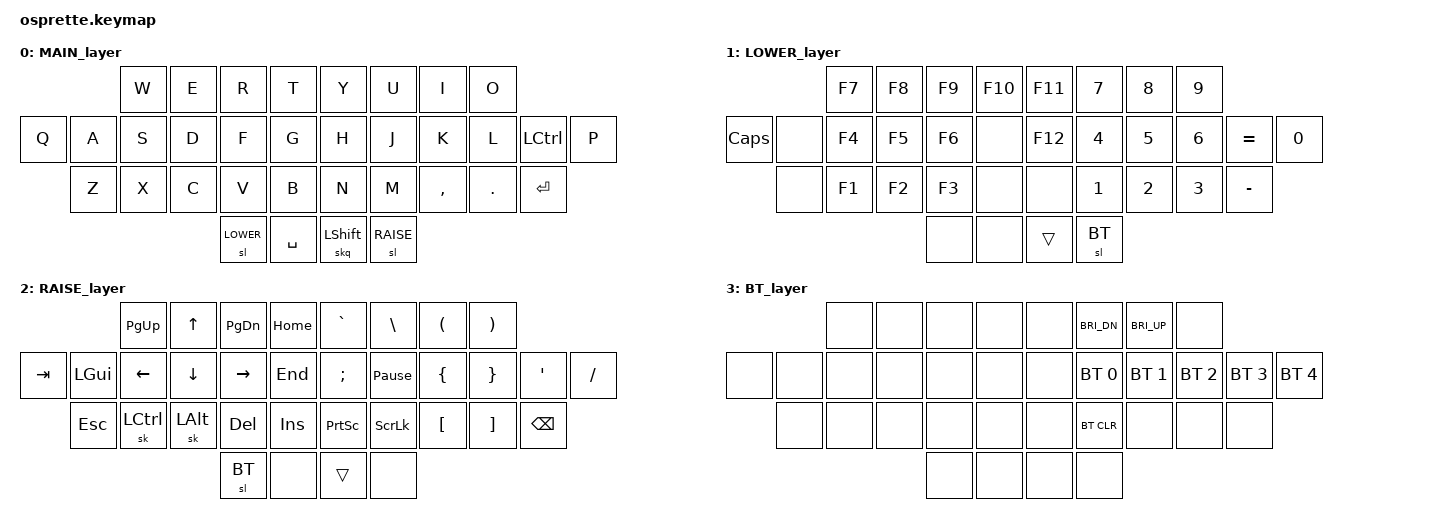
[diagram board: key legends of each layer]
#include <behaviors.dtsi>
#include <dt-bindings/zmk/keys.h>
#include <dt-bindings/zmk/bt.h>

#define MAIN 0
#define LOWER 1
#define RAISE 2
#define BT 3

&mt {
    flavor = "tap-preferred";
    tapping_term_ms = <180>;
};

/ {
    behaviors {
        skq: sticky_key_quick_release {
            compatible = "zmk,behavior-sticky-key";
            label = "STICKY_KEY_QUICK_RELEASE";
            #binding-cells = <1>;
            bindings = <&kp>;
            release-after-ms = <1000>;
            quick-release;
        };
    };

    keymap {
        compatible = "zmk,keymap";

        MAIN_layer {
            bindings = <
                        &kp W &kp E &kp R     &kp T          &kp Y      &kp U     &kp I     &kp O
            &kp Q &kp A &kp S &kp D &kp F     &kp G          &kp H      &kp J     &kp K     &kp L   &kp LCTRL &kp P
                  &kp Z &kp X &kp C &kp V     &kp B          &kp N      &kp M     &kp COMMA &kp DOT &kp ENTER
                                    &sl LOWER &kp SPACE      &skq LSHFT &sl RAISE
            >;
        };

        LOWER_layer {
            bindings = <
                           &kp F7 &kp F8 &kp F9 &kp F10      &kp F11 &kp N7 &kp N8 &kp N9
            &kp CAPS &none &kp F4 &kp F5 &kp F6 &none        &kp F12 &kp N4 &kp N5 &kp N6 &kp EQUAL &kp N0
                     &none &kp F1 &kp F2 &kp F3 &none        &none   &kp N1 &kp N2 &kp N3 &kp MINUS
                                         &none  &none        &trans  &sl BT
            >;
        };

        RAISE_layer {
            bindings = <
                             &kp PG_UP &kp UP   &kp PG_DN &kp HOME      &kp GRAVE &kp BSLH        &kp LPAR &kp RPAR
            &kp TAB &kp LGUI &kp LEFT  &kp DOWN &kp RIGHT &kp END       &kp SEMI  &kp PAUSE_BREAK &kp LBRC &kp RBRC &kp APOS &kp FSLH
                    &kp ESC  &sk LCTRL &sk LALT &kp DEL   &kp INS       &kp PSCRN &kp SLCK        &kp LBKT &kp RBKT &kp BSPC
                                                &sl BT    &none         &trans    &none
            >;
        };

        BT_layer {
            bindings = <
                        &none &none &none &none      &none &kp C_BRI_DN &kp C_BRI_UP &none
            &none &none &none &none &none &none      &none &bt BT_SEL 0 &bt BT_SEL 1 &bt BT_SEL 2 &bt BT_SEL 3 &bt BT_SEL 4
                  &none &none &none &none &none      &none &bt BT_CLR   &none        &none        &none
                                    &none &none      &none &none
            >;
        };
    };
};
